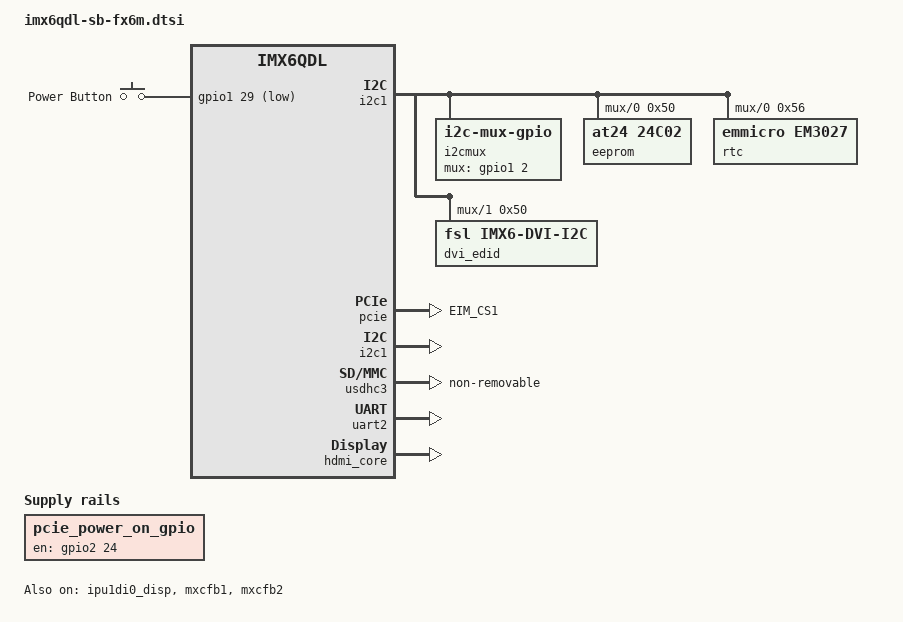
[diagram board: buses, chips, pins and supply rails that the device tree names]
/*
 * Copyright 2014 CompuLab Ltd.
 *
 * Author: Valentin Raevsky <valentin@compulab.co.il>
 *
 * The code contained herein is licensed under the GNU General Public
 * License. You may obtain a copy of the GNU General Public License
 * Version 2 or later at the following locations:
 *
 * http://www.opensource.org/licenses/gpl-license.html
 * http://www.gnu.org/copyleft/gpl.html
 */

#include <dt-bindings/gpio/gpio.h>

/ {
	iomux_uart2: pinmux@20E0924 {
		compatible = "pinctrl-single";
		reg = <0x20E0000 0x924>;	/* Single register */
		#address-cells = <1>;
		#size-cells = <0>;
		pinctrl-single,register-width = <32>;
		pinctrl-single,function-mask = <0x4>;
	};

	gpio-keys {
		compatible = "gpio-keys";
		power {
			label = "Power Button";
			gpios = <&gpio1 29 1>;
			linux,code = <116>; /* KEY_POWER */
			gpio-key,wakeup;
		};
	};

	i2cmux {
		compatible = "i2c-mux-gpio";
		#address-cells = <1>;
		#size-cells = <0>;
		mux-gpios = <&gpio1 2 0>;
		i2c-parent = <&i2c1>;

		i2c@0 {
			reg = <0>;
			#address-cells = <1>;
			#size-cells = <0>;

			eeprom@50 {
				compatible = "at24,24c02";
				reg = <0x50>;
				pagesize = <16>;
			};

			rtc@56 {
				compatible = "emmicro,em3027";
				reg = <0x56>;
			};
		};

		i2c@1 {
			reg = <1>;
			#address-cells = <1>;
			#size-cells = <0>;

			dvi_edid: edid@50 {
				compatible = "fsl,imx6-dvi-i2c";
				reg = <0x50>;
				status = "disabled";
			};
		};
	};

	pcie_power_on_gpio: regulator-pcie-power-on-gpio {
		compatible = "regulator-fixed";
		regulator-name = "regulator-pcie-power-on-gpio";
		gpio = <&gpio2 24 GPIO_ACTIVE_HIGH>;
		enable-active-high;
	};
};

&iomuxc {
	imx6q-sbc-fx6m {
		/* pins for pcie */
		pinctrl_fx6m_pcie: pciefx6mgrp {
			fsl,pins = <
				MX6QDL_PAD_EIM_CS1__GPIO2_IO24 0x80000000
			>;
		};
	};
};

&pcie {
	pinctrl-names = "default";
	pinctrl-0 = <&pinctrl_pcie>, <&pinctrl_fx6m_pcie>;
	vdd-supply = <&pcie_power_on_gpio>;
	status = "okay";
};

&i2c1 {
	status = "okay";
};

&usdhc3 {
	non-removable;
	status = "okay";
};

/* rear serial console */
&uart2 {
	pinctrl-names = "default";
	pinctrl-0 = <&pinctrl_uart2>;
	fsl,uart-has-rtscts;
	status = "okay";
};

&hdmi_core {
	ipu_id = <1>;
	disp_id = <0>;
	status = "okay";
};

&ipu1di0_disp {
	compatible = "fsl,dvi";
	hp_gpio = <4>;
	ipu_id = <0>;
	disp_id = <0>;
	status = "okay";
};

&dvi_edid {
	status = "okay";
};

&mxcfb1 {
	disp_dev = "hdmi";
	status = "okay";
};

&mxcfb2 {
	disp_dev = "dvi";
	depends = &ipu1di0_disp;
	status = "okay";
};
